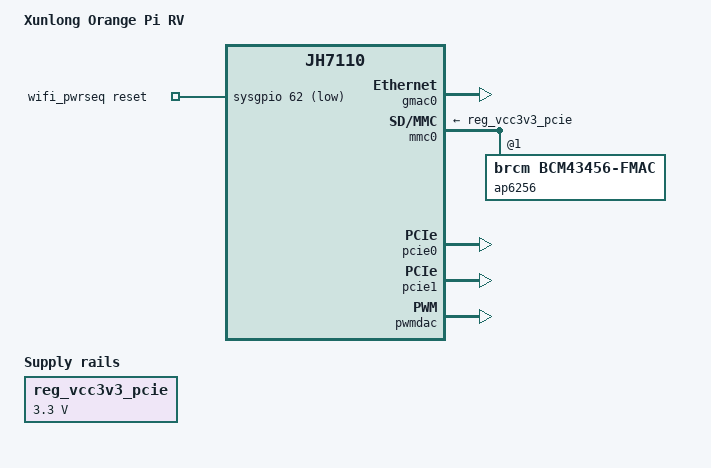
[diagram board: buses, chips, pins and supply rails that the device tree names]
// SPDX-License-Identifier: GPL-2.0 OR MIT
/*
 * Copyright (C) 2025 Icenowy Zheng <uwu@icenowy.me>
 */

/dts-v1/;
#include "jh7110-common.dtsi"

/ {
	model = "Xunlong Orange Pi RV";
	compatible = "xunlong,orangepi-rv", "starfive,jh7110";

	/* This regulator is always on by hardware */
	reg_vcc3v3_pcie: regulator-vcc3v3-pcie {
		compatible = "regulator-fixed";
		regulator-name = "vcc3v3-pcie";
		regulator-min-microvolt = <3300000>;
		regulator-max-microvolt = <3300000>;
		regulator-always-on;
	};

	wifi_pwrseq: wifi-pwrseq {
		compatible = "mmc-pwrseq-simple";
		reset-gpios = <&sysgpio 62 GPIO_ACTIVE_LOW>;
	};
};

&gmac0 {
	assigned-clocks = <&aoncrg JH7110_AONCLK_GMAC0_TX>;
	assigned-clock-parents = <&aoncrg JH7110_AONCLK_GMAC0_RMII_RTX>;
	starfive,tx-use-rgmii-clk;
	status = "okay";
};

&mmc0 {
	#address-cells = <1>;
	#size-cells = <0>;
	cap-sd-highspeed;
	mmc-pwrseq = <&wifi_pwrseq>;
	vmmc-supply = <&reg_vcc3v3_pcie>;
	vqmmc-supply = <&vcc_3v3>;
	status = "okay";

	ap6256: wifi@1 {
		compatible = "brcm,bcm43456-fmac", "brcm,bcm4329-fmac";
		reg = <1>;
		/* TODO: out-of-band IRQ on GPIO21 */
	};
};

&mmc0_pins {
	/*
	 * As the MMC0 bus is used to connect a SDIO Wi-Fi card instead of
	 * an eMMC card, and the eMMC RST is repurposed to be an enablement
	 * pin of the SDIO Wi-Fi, remove it from the pinctrl node and manage
	 * it as a GPIO instead.
	 */
	/delete-node/ rst-pins;
};

&mmc1 {
	/delete-property/ cd-gpios;
	broken-cd;
};

&pcie0 {
	status = "okay";
};

&pcie1 {
	status = "okay";
};

&phy0 {
	rx-internal-delay-ps = <1500>;
	tx-internal-delay-ps = <1500>;
	motorcomm,tx-clk-adj-enabled;
	motorcomm,tx-clk-10-inverted;
	motorcomm,tx-clk-100-inverted;
	motorcomm,tx-clk-1000-inverted;
	motorcomm,rx-clk-drv-microamp = <3970>;
	motorcomm,rx-data-drv-microamp = <2910>;
};

&pwmdac {
	status = "okay";
};
